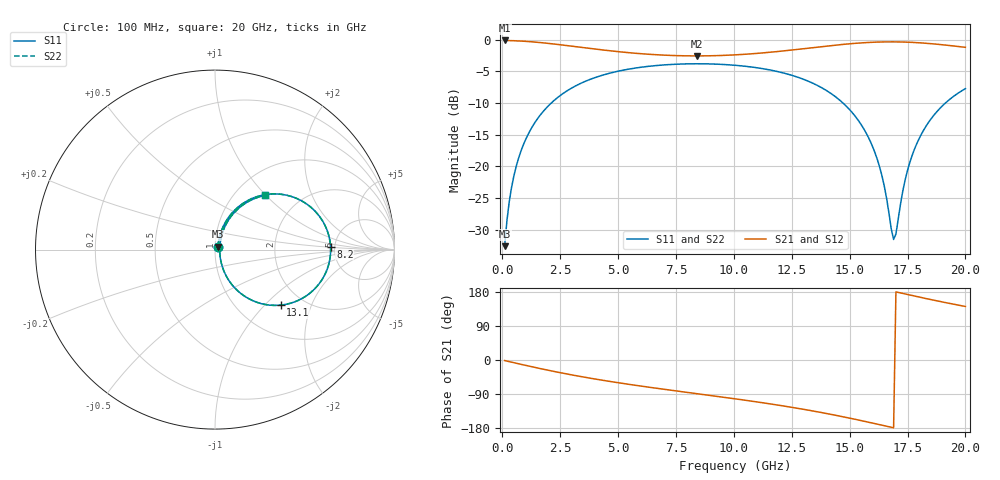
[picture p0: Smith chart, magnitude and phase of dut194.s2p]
! Touchstone file exported from HFSS 2026.1.0
!  File:  C:/ffzhzh/LocalFiles/Ansys_Project_Files/temp_train_TSV_RDL_194_1783059072_17544.aedt
!  Generated:  02:22:52 PM Jul  3, 2026
!  Design:  TSV_RDL
!  Project:  temp_train_TSV_RDL_194_1783059072_17544
! Variables:
!  h_bsmrdl = 5.5um
!  h_ox = 20um
!  h_rdl = 5um
!  h_sub = 60.6um
!  h_tmrdl = 2.06um
!  h_tsv = 60.6um
!  h_via = 3um
!  l_bsmrdl = 952.35um
!  l_sub = 3791.62um
!  l_tmrdl = 105.24um
!  m_sub = 200um
!  pitch = 57.42um
!  r_tsv = 6.82um
!  s_tmrdl = 10um
!  w_bsmrdl = 17.01um
!  w_sub = 500um
!  w_tmrdl = 20.86um
!  x_tsv_center1 = 115.67um
!  x_tsv_center2 = 1085.03um
!  x_tsv_center3 = 1211.13um
!  x_tsv_center4 = 2180.49um
!  x_tsv_center5 = 2306.59um
!  x_tsv_center6 = 3275.95um
# GHz S MA R 50.000000
! Terminal data exported
! Port[1] = TM_RDL1_1_T1
! Port[2] = TM_RDL5_1_T1
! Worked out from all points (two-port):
!   200 points, 100 MHz to 20 GHz, reference 50 ohm
!   highest |S21| = -0.14 dB at 100 MHz (marker M1); lowest = -2.6 dB at 8.4 GHz (marker M2)
!   |S21| within 3 dB of the highest: start of sweep to end of sweep
!   lowest |S11| = -32.6 dB at 100 MHz (marker M3), VSWR 1.05, Z = 51.7 + j1.71 ohm
!   |S11| at or under -10 dB: start of sweep to 2.116 GHz; 14.71 GHz to 19.14 GHz (4.428 GHz wide, 26.2 % of centre)
!   |S22| runs from -32.6 to -3.8 dB; largest |S21 - S12| = 1.6e-14
!   S11 on the Smith chart (normalised r, x): 100 MHz: 1.03, +0.03; 8.2 GHz: 4.60, +0.26; 13.1 GHz: 1.55, -1.24; 20 GHz: 1.36, +0.99
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0.1  0.02352 44.8  0.9836 -1.5  0.9836 -1.5  0.02352 44.8
! Gamma 0 0 0 0
! Port Impedance 50 0 50 0
0.3  0.05264 67.0  0.9816 -4.3  0.9816 -4.3  0.05264 67.0
0.5  0.08416 70.9  0.9787 -7.1  0.9787 -7.1  0.08415 70.9
1.1  0.1767 68.3  0.9652 -15.4  0.9652 -15.4  0.1767 68.3
2.1  0.3143 57.6  0.928 -28.5  0.928 -28.5  0.3143 57.6
3.5  0.4613 42.3  0.864 -44.9  0.864 -44.9  0.4613 42.3
6.8  0.6272 12.5  0.7563 -75.8  0.7563 -75.8  0.6272 12.5
8.2  0.644 1.5  0.7432 -87.2  0.7432 -87.2  0.644 1.5
8.4  0.6443 -0.1  0.743 -88.8  0.743 -88.8  0.6443 -0.1
10.1  0.6258 -13.5  0.758 -102.8  0.758 -102.8  0.6257 -13.5
13.1  0.4789 -40.3  0.8505 -131.1  0.8505 -131.1  0.4789 -40.2
13.4  0.4537 -43.3  0.8629 -134.4  0.8629 -134.4  0.4537 -43.2
14.7  0.3177 -56.7  0.9153 -149.6  0.9153 -149.6  0.3176 -56.7
15.6  0.1994 -65.2  0.9435 -161.2  0.9435 -161.2  0.1994 -65.2
16.3  0.09833 -66.5  0.9563 -170.7  0.9563 -170.7  0.09833 -66.4
16.7  0.04272 -49.2  0.959 -176.2  0.959 -176.2  0.04275 -49.1
16.9  0.02656 -6.1  0.9589 -178.9  0.9589 -178.9  0.02666 -6.0
17  0.0293 24.1  0.9586 179.7  0.9586 179.7  0.0294 24.1
17.5  0.09297 65.3  0.9535 172.9  0.9535 172.9  0.09303 65.3
18  0.1654 66.1  0.9432 166.1  0.9432 166.1  0.1654 66.0
18.8  0.2742 59.6  0.9178 155.7  0.9178 155.7  0.2742 59.5
20  0.4102 47.3  0.8682 141.3  0.8682 141.3  0.4102 47.3
